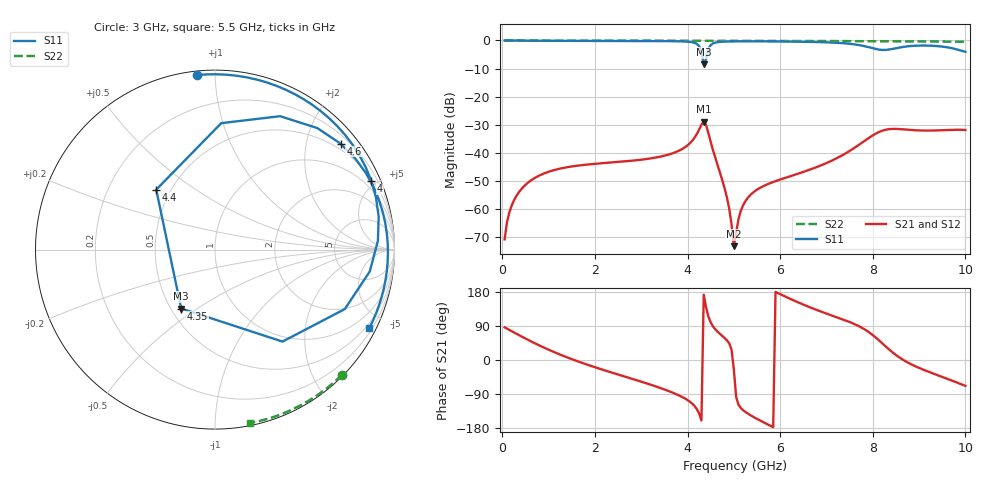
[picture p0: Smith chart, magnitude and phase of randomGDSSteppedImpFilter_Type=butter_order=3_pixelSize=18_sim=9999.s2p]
! freq	dB(S11)	phase(S11)	dB(S12)	phase(S12)
!  dB(S21)	phase(S21)	dB(S22)	phase(S22)
!S-par simulation data
#  GHz  S  DB  R 50
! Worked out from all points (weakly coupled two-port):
!   200 points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, 50 MHz to 10 GHz, reference 50 ohm
!   highest |S21| = -29.00 dB at 4.35 GHz (marker M1); lowest = -73.3 dB at 5 GHz (marker M2)
!   lowest |S11| = -8.4 dB at 4.35 GHz (marker M3), VSWR 2.22, Z = 28.2 - j21.6 ohm
!   |S11| at or under -10 dB: nowhere
!   |S22| runs from -0.4 to 0.0 dB; largest |S21 - S12| = 0
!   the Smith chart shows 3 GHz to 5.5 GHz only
!   S11 on the Smith chart (normalised r, x): 3 GHz: 0.02, +0.90; 4 GHz: 0.59, +4.71; 4.35 GHz: 0.56, -0.43; 4.4 GHz: 0.42, +0.36; 4.6 GHz: 0.37, +2.69; 5.5 GHz: 0.33, -4.15
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0.05  -0.00 -6.1  -70.90 86.2  -70.90 86.2  -0.00 -0.8
0.3  -0.05 -36.1  -55.55 69.6  -55.55 69.6  -0.01 -4.6
0.8  -0.11 -91.6  -48.14 38.4  -48.14 38.4  -0.02 -12.2
1.75  -0.16 -176.5  -44.38 -8.8  -44.38 -8.8  -0.03 -26.4
3  -0.20 95.8  -42.50 -57.1  -42.50 -57.1  -0.06 -44.6
3.4  -0.22 69.5  -41.45 -73.3  -41.45 -73.3  -0.07 -50.3
4  -0.43 23.6  -37.38 -105.8  -37.38 -105.8  -0.08 -58.6
4.25  -1.99 -24.6  -31.77 -141.2  -31.77 -141.2  -0.09 -62.1
4.35  -8.44 -119.9  -29.00 172.3  -29.00 172.3  -0.10 -63.4
4.4  -6.60 134.4  -30.13 139.5  -30.13 139.5  -0.10 -64.0
4.6  -0.77 40.2  -41.85 80.8  -41.85 80.8  -0.10 -66.7
5  -0.33 2.1  -73.32 -25.0  -73.32 -25.0  -0.11 -72.1
5.05  -0.32 -1.2  -68.54 -97.8  -68.54 -97.8  -0.11 -72.7
5.5  -0.31 -26.9  -53.18 -155.4  -53.18 -155.4  -0.13 -78.6
6.7  -0.53 -89.5  -45.68 136.3  -45.68 136.3  -0.18 -93.7
7.75  -1.79 178.3  -36.63 86.1  -36.63 86.1  -0.25 -106.4
8.1  -3.15 102.7  -32.90 55.6  -32.90 55.6  -0.27 -110.5
8.35  -3.24 31.0  -31.62 28.1  -31.62 28.1  -0.29 -113.5
8.7  -2.20 -44.0  -31.74 -2.9  -31.74 -2.9  -0.32 -117.5
9.05  -1.81 -90.9  -32.09 -23.5  -32.09 -23.5  -0.35 -121.6
9.65  -2.57 -164.5  -31.89 -51.5  -31.89 -51.5  -0.41 -128.4
10  -4.05 124.2  -31.92 -68.2  -31.92 -68.2  -0.45 -132.4
